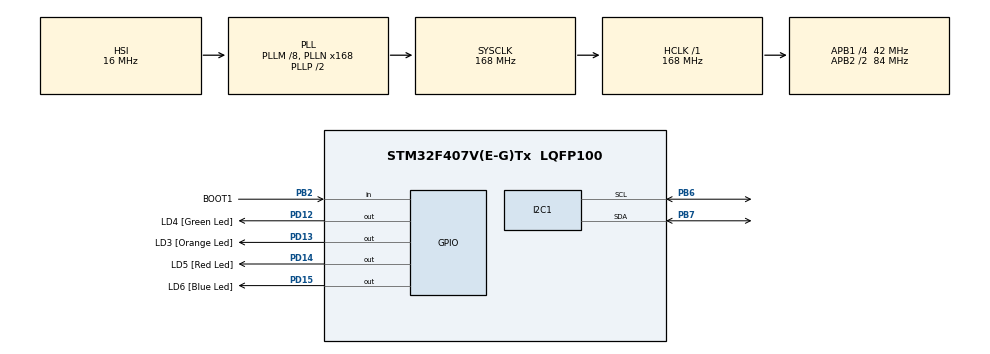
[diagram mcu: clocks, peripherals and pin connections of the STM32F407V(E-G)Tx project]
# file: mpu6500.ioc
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I2C1.I2C_Mode=I2C_Fast
Mcu.Family=STM32F4
Mcu.Name=STM32F407V(E-G)Tx
Mcu.Package=LQFP100
NVIC.PriorityGroup=NVIC_PRIORITYGROUP_0
PB10.GPIO_Label=CLK_IN [MP45DT02_CLK]
PB10.GPIO_Mode=GPIO_MODE_AF_PP
PB10.GPIO_PuPd=GPIO_NOPULL
PB10.GPIO_Speed=GPIO_SPEED_FREQ_LOW
PB10.Signal=I2S2_CK
PB2.GPIO_Label=BOOT1
PB2.GPIO_Mode=GPIO_MODE_INPUT
PB2.GPIO_PuPd=GPIO_NOPULL
PB2.Signal=GPIO_Input
PB6.Mode=I2C
PB6.Signal=I2C1_SCL
PB7.Mode=I2C
PB7.Signal=I2C1_SDA
PD12.GPIO_Label=LD4 [Green Led]
PD12.GPIO_PuPd=GPIO_NOPULL
PD12.GPIO_Speed=GPIO_SPEED_FREQ_LOW
PD12.Signal=GPIO_Output
PD13.GPIO_Label=LD3 [Orange Led]
PD13.GPIO_PuPd=GPIO_NOPULL
PD13.GPIO_Speed=GPIO_SPEED_FREQ_LOW
PD13.Signal=GPIO_Output
PD14.GPIO_Label=LD5 [Red Led]
PD14.GPIO_PuPd=GPIO_NOPULL
PD14.GPIO_Speed=GPIO_SPEED_FREQ_LOW
PD14.Signal=GPIO_Output
PD15.GPIO_Label=LD6 [Blue Led]
PD15.GPIO_PuPd=GPIO_NOPULL
PD15.GPIO_Speed=GPIO_SPEED_FREQ_LOW
PD15.Signal=GPIO_Output
PH0-OSC_IN.Mode=HSE-External-Oscillator
PH0-OSC_IN.Signal=RCC_OSC_IN
PH1-OSC_OUT.Mode=HSE-External-Oscillator
PH1-OSC_OUT.Signal=RCC_OSC_OUT
ProjectManager.HeapSize=0x200
ProjectManager.StackSize=0x400
ProjectManager.TargetToolchain=STM32CubeIDE
RCC.48MHZClocksFreq_Value=48000000
RCC.AHBFreq_Value=168000000
RCC.APB1CLKDivider=RCC_HCLK_DIV4
RCC.APB1Freq_Value=42000000
RCC.APB1TimFreq_Value=84000000
RCC.APB2CLKDivider=RCC_HCLK_DIV2
RCC.APB2Freq_Value=84000000
RCC.APB2TimFreq_Value=168000000
RCC.CortexFreq_Value=168000000
RCC.HCLKFreq_Value=168000000
RCC.HSE_VALUE=8000000
RCC.HSI_VALUE=16000000
RCC.LSE_VALUE=32768
RCC.PLLM=8
RCC.PLLN=168
RCC.PLLQ=7
RCC.SYSCLKFreq_VALUE=168000000
RCC.SYSCLKSource=RCC_SYSCLKSOURCE_PLLCLK
RCC.VCOOutputFreq_Value=336000000
board=STM32F407G-DISC1

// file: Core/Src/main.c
/* USER CODE BEGIN Header */
/**
  ******************************************************************************
  * @file           : main.c
  * @brief          : Main program body
  ******************************************************************************
  * @attention
  *
  * Copyright (c) 2024 STMicroelectronics.
  * All rights reserved.
  *
  * This software is licensed under terms that can be found in the LICENSE file
  * in the root directory of this software component.
  * If no LICENSE file comes with this software, it is provided AS-IS.
  *
  ******************************************************************************
  */
/* USER CODE END Header */
#include "main.h"
#include "mpu6500.h"
#include "math.h"
#include "kalman_filter.h"

I2C_HandleTypeDef hi2c1;

/* USER CODE BEGIN PV */

const mpu6500_accel_data_t error_offset = {
		.x=1530,
		.y=-275,
		.z=-1320
};

float roll_angle;
int16_t kalman_roll_angle;
/* USER CODE END PV */

void SystemClock_Config(void);
static void MX_GPIO_Init(void);
static void MX_I2C1_Init(void);
/* USER CODE BEGIN PFP */

mpu6500_accel_data_t g_accel_data;

/* USER CODE END PFP */

int main(void)
{

  /* USER CODE BEGIN 1 */

	float dt = 0;

  /* USER CODE END 1 */

  /* MCU Configuration--------------------------------------------------------*/

  /* Reset of all peripherals, Initializes the Flash interface and the Systick. */
  HAL_Init();

  /* Configure the system clock */
  SystemClock_Config();

  /* Initialize all configured peripherals */
  MX_GPIO_Init();
  MX_I2C1_Init();
  /* USER CODE BEGIN 2 */

  KalmanFilter kf;
  kalman_filter_init(&kf);
/*
  if(mpu6500_init(&hi2c1, MPU6500_I2C_ADDR)!=MPU6500_OK)
  {
	  Error_Handler();
  }
*/
  while(mpu6500_init(&hi2c1, MPU6500_I2C_ADDR));
   uint32_t previous_tick = HAL_GetTick();

/*
   for(i =0;i<2000;i++)
     {
   	  prevtime2 = time2;
   	  time2 = HAL_GetTick();
   	  elapsedtime2=(time2-prevtime2)*1000;

   	  cuffer[0] = 0x43;
   	  HAL_I2C_Master_Transmit(&hi2c1, MPU6500_I2C_ADDR, cuffer, 1, HAL_MAX_DELAY);
   	  HAL_I2C_Master_Receive(&hi2c1, MPU6500_I2C_ADDR, cuffer, 6, HAL_MAX_DELAY);

     }
   */

  /* USER CODE END 2 */

  /* Infinite loop */
  while (1)
  {

    /* USER CODE BEGIN 3 */

	  uint32_t current_tick = HAL_GetTick();
	  dt = (current_tick -previous_tick) /1000.0f;
	  previous_tick = current_tick;
	  /*
	  if(mpu6500_read_accelerometer_data(&hi2c1, MPU6500_I2C_ADDR, &g_accel_data) != MPU6500_OK)
	  {
		  Error_Handler();
	  }
*/

	  mpu6500_read_accelerometer_data(&hi2c1, MPU6500_I2C_ADDR, &g_accel_data);

	  g_accel_data = mpu6500_accelerometer_calibration(&error_offset, &g_accel_data);

	  roll_angle= atan2(g_accel_data.y,g_accel_data.z) *(180.0/M_PI);

	  kalman_roll_angle = kalman_filter_get_angle(&kf, roll_angle, dt);
	  if(roll_angle<0)
	  {
		  HAL_GPIO_WritePin(GPIOD, LD4_Pin, GPIO_PIN_RESET);
		  HAL_GPIO_WritePin(GPIOD, LD5_Pin, GPIO_PIN_SET);
	  }
	  else
	  {
		  HAL_GPIO_WritePin(GPIOD, LD4_Pin, GPIO_PIN_SET);
		  HAL_GPIO_WritePin(GPIOD, LD5_Pin, GPIO_PIN_RESET);
	  }
	  HAL_Delay(250);

	  //HAL_Delay(50);
  }
  /* USER CODE END 3 */
}

void SystemClock_Config(void)
{
  RCC_OscInitTypeDef RCC_OscInitStruct = {0};
  RCC_ClkInitTypeDef RCC_ClkInitStruct = {0};

  /** Configure the main internal regulator output voltage
  */
  __HAL_RCC_PWR_CLK_ENABLE();
  __HAL_PWR_VOLTAGESCALING_CONFIG(PWR_REGULATOR_VOLTAGE_SCALE1);

  /** Initializes the RCC Oscillators according to the specified parameters
  * in the RCC_OscInitTypeDef structure.
  */
  RCC_OscInitStruct.OscillatorType = RCC_OSCILLATORTYPE_HSI;
  RCC_OscInitStruct.HSIState = RCC_HSI_ON;
  RCC_OscInitStruct.HSICalibrationValue = RCC_HSICALIBRATION_DEFAULT;
  RCC_OscInitStruct.PLL.PLLState = RCC_PLL_ON;
  RCC_OscInitStruct.PLL.PLLSource = RCC_PLLSOURCE_HSI;
  RCC_OscInitStruct.PLL.PLLM = 8;
  RCC_OscInitStruct.PLL.PLLN = 168;
  RCC_OscInitStruct.PLL.PLLP = RCC_PLLP_DIV2;
  RCC_OscInitStruct.PLL.PLLQ = 7;
  if (HAL_RCC_OscConfig(&RCC_OscInitStruct) != HAL_OK)
  {
    Error_Handler();
  }

  /** Initializes the CPU, AHB and APB buses clocks
  */
  RCC_ClkInitStruct.ClockType = RCC_CLOCKTYPE_HCLK|RCC_CLOCKTYPE_SYSCLK
                              |RCC_CLOCKTYPE_PCLK1|RCC_CLOCKTYPE_PCLK2;
  RCC_ClkInitStruct.SYSCLKSource = RCC_SYSCLKSOURCE_PLLCLK;
  RCC_ClkInitStruct.AHBCLKDivider = RCC_SYSCLK_DIV1;
  RCC_ClkInitStruct.APB1CLKDivider = RCC_HCLK_DIV4;
  RCC_ClkInitStruct.APB2CLKDivider = RCC_HCLK_DIV2;

  if (HAL_RCC_ClockConfig(&RCC_ClkInitStruct, FLASH_LATENCY_5) != HAL_OK)
  {
    Error_Handler();
  }
}

static void MX_I2C1_Init(void)
{

  hi2c1.Instance = I2C1;
  hi2c1.Init.ClockSpeed = 400000;
  hi2c1.Init.DutyCycle = I2C_DUTYCYCLE_2;
  hi2c1.Init.OwnAddress1 = 0;
  hi2c1.Init.AddressingMode = I2C_ADDRESSINGMODE_7BIT;
  hi2c1.Init.DualAddressMode = I2C_DUALADDRESS_DISABLE;
  hi2c1.Init.OwnAddress2 = 0;
  hi2c1.Init.GeneralCallMode = I2C_GENERALCALL_DISABLE;
  hi2c1.Init.NoStretchMode = I2C_NOSTRETCH_DISABLE;
  if (HAL_I2C_Init(&hi2c1) != HAL_OK)
  {
    Error_Handler();
  }

}

static void MX_GPIO_Init(void)
{
  GPIO_InitTypeDef GPIO_InitStruct = {0};

  /* GPIO Ports Clock Enable */
  __HAL_RCC_GPIOH_CLK_ENABLE();
  __HAL_RCC_GPIOB_CLK_ENABLE();
  __HAL_RCC_GPIOD_CLK_ENABLE();

  /*Configure GPIO pin Output Level */
  HAL_GPIO_WritePin(GPIOD, LD4_Pin|LD3_Pin|LD5_Pin|LD6_Pin, GPIO_PIN_RESET);

  /*Configure GPIO pin : BOOT1_Pin */
  GPIO_InitStruct.Pin = BOOT1_Pin;
  GPIO_InitStruct.Mode = GPIO_MODE_INPUT;
  GPIO_InitStruct.Pull = GPIO_NOPULL;
  HAL_GPIO_Init(BOOT1_GPIO_Port, &GPIO_InitStruct);

  /*Configure GPIO pin : CLK_IN_Pin */
  GPIO_InitStruct.Pin = CLK_IN_Pin;
  GPIO_InitStruct.Mode = GPIO_MODE_AF_PP;
  GPIO_InitStruct.Pull = GPIO_NOPULL;
  GPIO_InitStruct.Speed = GPIO_SPEED_FREQ_LOW;
  GPIO_InitStruct.Alternate = GPIO_AF5_SPI2;
  HAL_GPIO_Init(CLK_IN_GPIO_Port, &GPIO_InitStruct);

  /*Configure GPIO pins : LD4_Pin LD3_Pin LD5_Pin LD6_Pin */
  GPIO_InitStruct.Pin = LD4_Pin|LD3_Pin|LD5_Pin|LD6_Pin;
  GPIO_InitStruct.Mode = GPIO_MODE_OUTPUT_PP;
  GPIO_InitStruct.Pull = GPIO_NOPULL;
  GPIO_InitStruct.Speed = GPIO_SPEED_FREQ_LOW;
  HAL_GPIO_Init(GPIOD, &GPIO_InitStruct);

}

void Error_Handler(void)
{
  __disable_irq();
  while (1)
  {
  }
}
